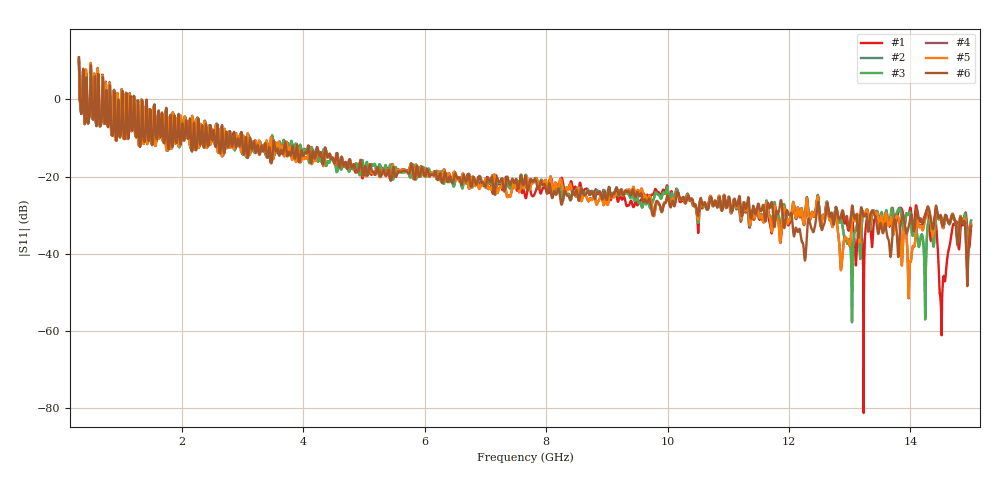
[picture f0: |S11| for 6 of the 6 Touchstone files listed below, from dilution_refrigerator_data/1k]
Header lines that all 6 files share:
# GHZ S RI R 50.0
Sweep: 300 MHz to 15 GHz
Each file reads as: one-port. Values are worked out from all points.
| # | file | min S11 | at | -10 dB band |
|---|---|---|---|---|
| 1 | port1_1k_repeat1.s1p | -81.2 dB | 13.23 GHz | over 11.88 GHz wide |
| 2 | port3_1k.s1p | -57.4 dB | 13.04 GHz | over 11.51 GHz wide |
| 3 | port3_1k_repeat1.s1p | -57.7 dB | 13.04 GHz | over 11.51 GHz wide |
| 4 | port4_1k.s1p | -51.5 dB | 13.97 GHz | over 11.53 GHz wide |
| 5 | port4_1k_repeat1.s1p | -51.4 dB | 13.97 GHz | over 11.53 GHz wide |
| 6 | port6_1k.s1p | -48.4 dB | 14.94 GHz | over 11.88 GHz wide |
